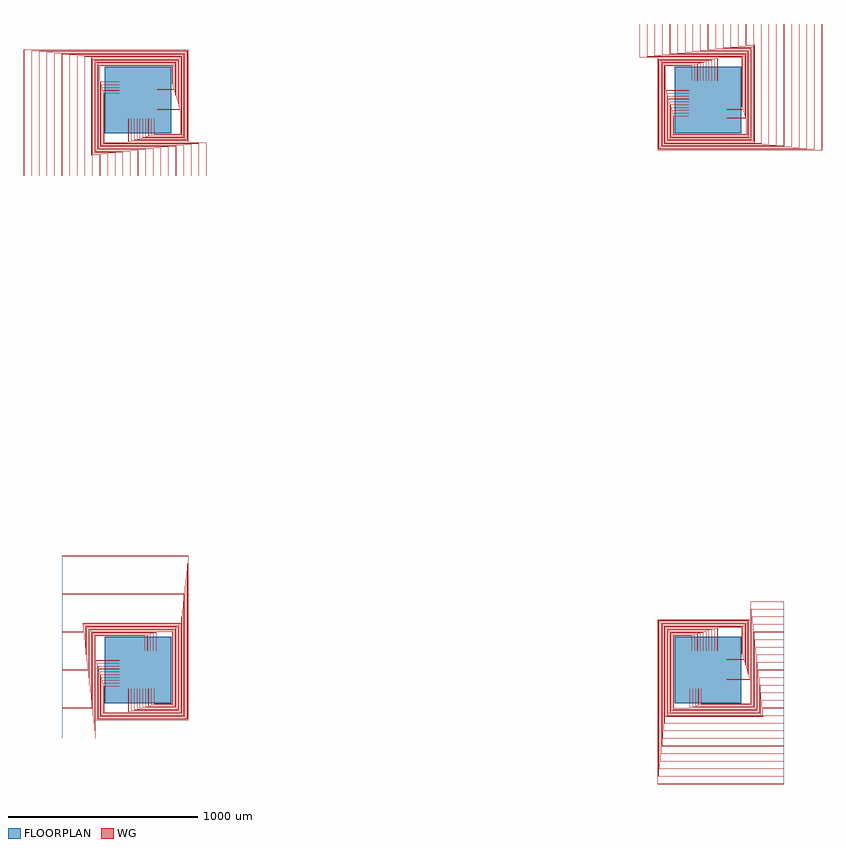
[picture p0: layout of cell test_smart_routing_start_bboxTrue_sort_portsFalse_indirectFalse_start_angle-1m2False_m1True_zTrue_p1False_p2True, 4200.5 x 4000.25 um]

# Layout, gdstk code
import gdstk
lib = gdstk.Library(unit=1e-6, precision=1e-09)
def R(c, l, rs):  # rectangles x0, y0, x1, y1
    for r in rs: c.add(gdstk.rectangle(r[:2], r[2:], *l))
def P(c, l, *ps):  # polygons
    for p in ps: c.add(gdstk.Polygon(p, *l))
WG = (1, 0)
FLOORPLAN = (10, 0)

test_smart_routing_start = lib.new_cell('test_smart_routing_start_bboxTrue_sort_portsFalse_indirectFalse_start_angle-1m2False_m1True_zTrue_p1False_p2True')
P(test_smart_routing_start, WG, [(-220,-265),(-220,50.25),(-100,50.25),(-100,49.75),(-219.5,49.75),(-219.5,-264.5),(264.5,-264.5),(264.5,599.75),(-400,599.75),(-400,600.25),(265,600.25),(265,-265)],
  [(-215.5,-260.5),(-215.5,35.25),(-100,35.25),(-100,34.75),(-215,34.75),(-215,-260),(260,-260),(260,559.75),(-400,559.75),(-400,560.25),(260.5,560.25),(260.5,-260.5)],
  [(-211,-256),(-211,20.25),(-100,20.25),(-100,19.75),(-210.5,19.75),(-210.5,-255.5),(255.5,-255.5),(255.5,519.75),(-400,519.75),(-400,520.25),(256,520.25),(256,-256)],
  [(-206.5,-251.5),(-206.5,5.25),(-100,5.25),(-100,4.75),(-206,4.75),(-206,-251),(251,-251),(251,479.75),(-400,479.75),(-400,480.25),(251.5,480.25),(251.5,-251.5)],
  [(-202,-247),(-202,-9.75),(-100,-9.75),(-100,-10.25),(-201.5,-10.25),(-201.5,-246.5),(246.5,-246.5),(246.5,439.75),(-400,439.75),(-400,440.25),(247,440.25),(247,-247)],
  [(-197.5,-242.5),(-197.5,-24.75),(-100,-24.75),(-100,-25.25),(-197,-25.25),(-197,-242),(242,-242),(242,399.75),(-400,399.75),(-400,400.25),(242.5,400.25),(242.5,-242.5)],
  [(-193,-238),(-193,-39.75),(-100,-39.75),(-100,-40.25),(-192.5,-40.25),(-192.5,-237.5),(237.5,-237.5),(237.5,359.75),(-400,359.75),(-400,360.25),(238,360.25),(238,-238)],
  [(-188.5,-233.5),(-188.5,-54.75),(-100,-54.75),(-100,-55.25),(-188,-55.25),(-188,-233),(233,-233),(233,319.75),(-400,319.75),(-400,320.25),(233.5,320.25),(233.5,-233.5)],
  [(-184,-229),(-184,-69.75),(-100,-69.75),(-100,-70.25),(-183.5,-70.25),(-183.5,-228.5),(228.5,-228.5),(228.5,279.75),(-400,279.75),(-400,280.25),(229,280.25),(229,-229)],
  [(-179.5,-224.5),(-179.5,-84.75),(-100,-84.75),(-100,-85.25),(-179,-85.25),(-179,-224),(224,-224),(224,246.5),(-291.5,246.5),(-291.5,239.75),(-400,239.75),(-400,240.25),(-292,240.25),(-292,247),(224.5,247),(224.5,-224.5)],
  [(-50.25,-220),(-50.25,-100),(-49.75,-100),(-49.75,-219.5),(219.5,-219.5),(219.5,242),(-287,242),(-287,199.75),(-400,199.75),(-400,200.25),(-287.5,200.25),(-287.5,242.5),(220,242.5),(220,-220)],
  [(-35.25,-215.5),(-35.25,-100),(-34.75,-100),(-34.75,-215),(215,-215),(215,237.5),(-282.5,237.5),(-282.5,159.75),(-400,159.75),(-400,160.25),(-283,160.25),(-283,238),(215.5,238),(215.5,-215.5)],
  [(-20.25,-211),(-20.25,-100),(-19.75,-100),(-19.75,-210.5),(210.5,-210.5),(210.5,233),(-278,233),(-278,119.75),(-400,119.75),(-400,120.25),(-278.5,120.25),(-278.5,233.5),(211,233.5),(211,-211)],
  [(-5.25,-206.5),(-5.25,-100),(-4.75,-100),(-4.75,-206),(206,-206),(206,228.5),(-273.5,228.5),(-273.5,79.75),(-400,79.75),(-400,80.25),(-274,80.25),(-274,229),(206.5,229),(206.5,-206.5)],
  [(9.75,-202),(9.75,-100),(10.25,-100),(10.25,-201.5),(201.5,-201.5),(201.5,224),(-269,224),(-269,39.75),(-400,39.75),(-400,40.25),(-269.5,40.25),(-269.5,224.5),(202,224.5),(202,-202)],
  [(24.75,-197.5),(24.75,-100),(25.25,-100),(25.25,-197),(197,-197),(197,219.5),(-264.5,219.5),(-264.5,-0.25),(-400,-0.25),(-400,0.25),(-265,0.25),(-265,220),(197.5,220),(197.5,-197.5)],
  [(39.75,-193),(39.75,-100),(40.25,-100),(40.25,-192.5),(192.5,-192.5),(192.5,215),(-260,215),(-260,-40.25),(-400,-40.25),(-400,-39.75),(-260.5,-39.75),(-260.5,215.5),(193,215.5),(193,-193)],
  [(54.75,-188.5),(54.75,-100),(55.25,-100),(55.25,-188),(188,-188),(188,210.5),(-255.5,210.5),(-255.5,-80.25),(-400,-80.25),(-400,-79.75),(-256,-79.75),(-256,211),(188.5,211),(188.5,-188.5)],
  [(69.75,-184),(69.75,-100),(70.25,-100),(70.25,-183.5),(183.5,-183.5),(183.5,206),(-251,206),(-251,-120.25),(-400,-120.25),(-400,-119.75),(-251.5,-119.75),(-251.5,206.5),(184,206.5),(184,-184)],
  [(84.75,-179.5),(84.75,-100),(85.25,-100),(85.25,-179),(179,-179),(179,201.5),(-246.5,201.5),(-246.5,-160.25),(-400,-160.25),(-400,-159.75),(-247,-159.75),(-247,202),(179.5,202),(179.5,-179.5)],
  [(-400,-360.25),(-400,-359.75),(-224.5,-359.75),(-224.5,179.5),(35.25,179.5),(35.25,100),(34.75,100),(34.75,179),(-224,179),(-224,-360.25)],
  [(-400,-320.25),(-400,-319.75),(-229,-319.75),(-229,184),(50.25,184),(50.25,100),(49.75,100),(49.75,183.5),(-228.5,183.5),(-228.5,-320.25)],
  [(-400,-280.25),(-400,-279.75),(-233.5,-279.75),(-233.5,188.5),(65.25,188.5),(65.25,100),(64.75,100),(64.75,188),(-233,188),(-233,-280.25)],
  [(-400,-240.25),(-400,-239.75),(-238,-239.75),(-238,193),(80.25,193),(80.25,100),(79.75,100),(79.75,192.5),(-237.5,192.5),(-237.5,-240.25)],
  [(-400,-200.25),(-400,-199.75),(-242.5,-199.75),(-242.5,197.5),(95.25,197.5),(95.25,100),(94.75,100),(94.75,197),(-242,197),(-242,-200.25)],
  [(-600.25,2600),(-600.25,3265),(265,3265),(265,2780),(-50.25,2780),(-50.25,2900),(-49.75,2900),(-49.75,2780.5),(264.5,2780.5),(264.5,3264.5),(-599.75,3264.5),(-599.75,2600)],
  [(-560.25,2600),(-560.25,3260.5),(260.5,3260.5),(260.5,2784.5),(-35.25,2784.5),(-35.25,2900),(-34.75,2900),(-34.75,2785),(260,2785),(260,3260),(-559.75,3260),(-559.75,2600)],
  [(-520.25,2600),(-520.25,3256),(256,3256),(256,2789),(-20.25,2789),(-20.25,2900),(-19.75,2900),(-19.75,2789.5),(255.5,2789.5),(255.5,3255.5),(-519.75,3255.5),(-519.75,2600)],
  [(-480.25,2600),(-480.25,3251.5),(251.5,3251.5),(251.5,2793.5),(-5.25,2793.5),(-5.25,2900),(-4.75,2900),(-4.75,2794),(251,2794),(251,3251),(-479.75,3251),(-479.75,2600)],
  [(-440.25,2600),(-440.25,3247),(247,3247),(247,2798),(9.75,2798),(9.75,2900),(10.25,2900),(10.25,2798.5),(246.5,2798.5),(246.5,3246.5),(-439.75,3246.5),(-439.75,2600)],
  [(-400.25,2600),(-400.25,3242.5),(242.5,3242.5),(242.5,2802.5),(24.75,2802.5),(24.75,2900),(25.25,2900),(25.25,2803),(242,2803),(242,3242),(-399.75,3242),(-399.75,2600)],
  [(-360.25,2600),(-360.25,3238),(238,3238),(238,2807),(39.75,2807),(39.75,2900),(40.25,2900),(40.25,2807.5),(237.5,2807.5),(237.5,3237.5),(-359.75,3237.5),(-359.75,2600)],
  [(-320.25,2600),(-320.25,3233.5),(233.5,3233.5),(233.5,2811.5),(54.75,2811.5),(54.75,2900),(55.25,2900),(55.25,2812),(233,2812),(233,3233),(-319.75,3233),(-319.75,2600)],
  [(-280.25,2600),(-280.25,3229),(229,3229),(229,2816),(69.75,2816),(69.75,2900),(70.25,2900),(70.25,2816.5),(228.5,2816.5),(228.5,3228.5),(-279.75,3228.5),(-279.75,2600)],
  [(-240.25,2600),(-240.25,2708),(-247,2708),(-247,3224.5),(224.5,3224.5),(224.5,2820.5),(84.75,2820.5),(84.75,2900),(85.25,2900),(85.25,2821),(224,2821),(224,3224),(-246.5,3224),(-246.5,2708.5),(-239.75,2708.5),(-239.75,2600)],
  [(-200.25,2600),(-200.25,2712.5),(-242.5,2712.5),(-242.5,3220),(220,3220),(220,2949.75),(100,2949.75),(100,2950.25),(219.5,2950.25),(219.5,3219.5),(-242,3219.5),(-242,2713),(-199.75,2713),(-199.75,2600)],
  [(-160.25,2600),(-160.25,2717),(-238,2717),(-238,3215.5),(215.5,3215.5),(215.5,2964.75),(100,2964.75),(100,2965.25),(215,2965.25),(215,3215),(-237.5,3215),(-237.5,2717.5),(-159.75,2717.5),(-159.75,2600)],
  [(-120.25,2600),(-120.25,2721.5),(-233.5,2721.5),(-233.5,3211),(211,3211),(211,2979.75),(100,2979.75),(100,2980.25),(210.5,2980.25),(210.5,3210.5),(-233,3210.5),(-233,2722),(-119.75,2722),(-119.75,2600)],
  [(-80.25,2600),(-80.25,2726),(-229,2726),(-229,3206.5),(206.5,3206.5),(206.5,2994.75),(100,2994.75),(100,2995.25),(206,2995.25),(206,3206),(-228.5,3206),(-228.5,2726.5),(-79.75,2726.5),(-79.75,2600)],
  [(-40.25,2600),(-40.25,2730.5),(-224.5,2730.5),(-224.5,3202),(202,3202),(202,3009.75),(100,3009.75),(100,3010.25),(201.5,3010.25),(201.5,3201.5),(-224,3201.5),(-224,2731),(-39.75,2731),(-39.75,2600)],
  [(-0.25,2600),(-0.25,2735),(-220,2735),(-220,3197.5),(197.5,3197.5),(197.5,3024.75),(100,3024.75),(100,3025.25),(197,3025.25),(197,3197),(-219.5,3197),(-219.5,2735.5),(0.25,2735.5),(0.25,2600)],
  [(39.75,2600),(39.75,2739.5),(-215.5,2739.5),(-215.5,3193),(193,3193),(193,3039.75),(100,3039.75),(100,3040.25),(192.5,3040.25),(192.5,3192.5),(-215,3192.5),(-215,2740),(40.25,2740),(40.25,2600)],
  [(79.75,2600),(79.75,2744),(-211,2744),(-211,3188.5),(188.5,3188.5),(188.5,3054.75),(100,3054.75),(100,3055.25),(188,3055.25),(188,3188),(-210.5,3188),(-210.5,2744.5),(80.25,2744.5),(80.25,2600)],
  [(119.75,2600),(119.75,2748.5),(-206.5,2748.5),(-206.5,3184),(184,3184),(184,3069.75),(100,3069.75),(100,3070.25),(183.5,3070.25),(183.5,3183.5),(-206,3183.5),(-206,2749),(120.25,2749),(120.25,2600)],
  [(159.75,2600),(159.75,2753),(-202,2753),(-202,3179.5),(179.5,3179.5),(179.5,3084.75),(100,3084.75),(100,3085.25),(179,3085.25),(179,3179),(-201.5,3179),(-201.5,2753.5),(160.25,2753.5),(160.25,2600)],
  [(359.75,2600),(359.75,2775.5),(-179.5,2775.5),(-179.5,3035.25),(-100,3035.25),(-100,3034.75),(-179,3034.75),(-179,2776),(360.25,2776),(360.25,2600)],
  [(319.75,2600),(319.75,2771),(-184,2771),(-184,3050.25),(-100,3050.25),(-100,3049.75),(-183.5,3049.75),(-183.5,2771.5),(320.25,2771.5),(320.25,2600)],
  [(279.75,2600),(279.75,2766.5),(-188.5,2766.5),(-188.5,3065.25),(-100,3065.25),(-100,3064.75),(-188,3064.75),(-188,2767),(280.25,2767),(280.25,2600)],
  [(239.75,2600),(239.75,2762),(-193,2762),(-193,3080.25),(-100,3080.25),(-100,3079.75),(-192.5,3079.75),(-192.5,2762.5),(240.25,2762.5),(240.25,2600)],
  [(199.75,2600),(199.75,2757.5),(-197.5,2757.5),(-197.5,3095.25),(-100,3095.25),(-100,3094.75),(-197,3094.75),(-197,2758),(200.25,2758),(200.25,2600)],
  [(2735,-600.25),(2735,265),(3220,265),(3220,-50.25),(3100,-50.25),(3100,-49.75),(3219.5,-49.75),(3219.5,264.5),(2735.5,264.5),(2735.5,-599.75),(3400,-599.75),(3400,-600.25)],
  [(2739.5,-560.25),(2739.5,260.5),(3215.5,260.5),(3215.5,-35.25),(3100,-35.25),(3100,-34.75),(3215,-34.75),(3215,260),(2740,260),(2740,-559.75),(3400,-559.75),(3400,-560.25)],
  [(2744,-520.25),(2744,256),(3211,256),(3211,-20.25),(3100,-20.25),(3100,-19.75),(3210.5,-19.75),(3210.5,255.5),(2744.5,255.5),(2744.5,-519.75),(3400,-519.75),(3400,-520.25)],
  [(2748.5,-480.25),(2748.5,251.5),(3206.5,251.5),(3206.5,-5.25),(3100,-5.25),(3100,-4.75),(3206,-4.75),(3206,251),(2749,251),(2749,-479.75),(3400,-479.75),(3400,-480.25)],
  [(2753,-440.25),(2753,247),(3202,247),(3202,9.75),(3100,9.75),(3100,10.25),(3201.5,10.25),(3201.5,246.5),(2753.5,246.5),(2753.5,-439.75),(3400,-439.75),(3400,-440.25)],
  [(2757.5,-400.25),(2757.5,242.5),(3197.5,242.5),(3197.5,24.75),(3100,24.75),(3100,25.25),(3197,25.25),(3197,242),(2758,242),(2758,-399.75),(3400,-399.75),(3400,-400.25)],
  [(2762,-360.25),(2762,238),(3193,238),(3193,39.75),(3100,39.75),(3100,40.25),(3192.5,40.25),(3192.5,237.5),(2762.5,237.5),(2762.5,-359.75),(3400,-359.75),(3400,-360.25)],
  [(2766.5,-320.25),(2766.5,233.5),(3188.5,233.5),(3188.5,54.75),(3100,54.75),(3100,55.25),(3188,55.25),(3188,233),(2767,233),(2767,-319.75),(3400,-319.75),(3400,-320.25)],
  [(2771,-280.25),(2771,229),(3184,229),(3184,69.75),(3100,69.75),(3100,70.25),(3183.5,70.25),(3183.5,228.5),(2771.5,228.5),(2771.5,-279.75),(3400,-279.75),(3400,-280.25)],
  [(2775.5,-247),(2775.5,224.5),(3179.5,224.5),(3179.5,84.75),(3100,84.75),(3100,85.25),(3179,85.25),(3179,224),(2776,224),(2776,-246.5),(3291.5,-246.5),(3291.5,-239.75),(3400,-239.75),(3400,-240.25),(3292,-240.25),(3292,-247)],
  [(2780,-242.5),(2780,220),(3050.25,220),(3050.25,100),(3049.75,100),(3049.75,219.5),(2780.5,219.5),(2780.5,-242),(3287,-242),(3287,-199.75),(3400,-199.75),(3400,-200.25),(3287.5,-200.25),(3287.5,-242.5)],
  [(2784.5,-238),(2784.5,215.5),(3035.25,215.5),(3035.25,100),(3034.75,100),(3034.75,215),(2785,215),(2785,-237.5),(3282.5,-237.5),(3282.5,-159.75),(3400,-159.75),(3400,-160.25),(3283,-160.25),(3283,-238)],
  [(2789,-233.5),(2789,211),(3020.25,211),(3020.25,100),(3019.75,100),(3019.75,210.5),(2789.5,210.5),(2789.5,-233),(3278,-233),(3278,-119.75),(3400,-119.75),(3400,-120.25),(3278.5,-120.25),(3278.5,-233.5)],
  [(2793.5,-229),(2793.5,206.5),(3005.25,206.5),(3005.25,100),(3004.75,100),(3004.75,206),(2794,206),(2794,-228.5),(3273.5,-228.5),(3273.5,-79.75),(3400,-79.75),(3400,-80.25),(3274,-80.25),(3274,-229)],
  [(2798,-224.5),(2798,202),(2990.25,202),(2990.25,100),(2989.75,100),(2989.75,201.5),(2798.5,201.5),(2798.5,-224),(3269,-224),(3269,-39.75),(3400,-39.75),(3400,-40.25),(3269.5,-40.25),(3269.5,-224.5)],
  [(2802.5,-220),(2802.5,197.5),(2975.25,197.5),(2975.25,100),(2974.75,100),(2974.75,197),(2803,197),(2803,-219.5),(3264.5,-219.5),(3264.5,0.25),(3400,0.25),(3400,-0.25),(3265,-0.25),(3265,-220)],
  [(2807,-215.5),(2807,193),(2960.25,193),(2960.25,100),(2959.75,100),(2959.75,192.5),(2807.5,192.5),(2807.5,-215),(3260,-215),(3260,40.25),(3400,40.25),(3400,39.75),(3260.5,39.75),(3260.5,-215.5)],
  [(2811.5,-211),(2811.5,188.5),(2945.25,188.5),(2945.25,100),(2944.75,100),(2944.75,188),(2812,188),(2812,-210.5),(3255.5,-210.5),(3255.5,80.25),(3400,80.25),(3400,79.75),(3256,79.75),(3256,-211)],
  [(2816,-206.5),(2816,184),(2930.25,184),(2930.25,100),(2929.75,100),(2929.75,183.5),(2816.5,183.5),(2816.5,-206),(3251,-206),(3251,120.25),(3400,120.25),(3400,119.75),(3251.5,119.75),(3251.5,-206.5)],
  [(2820.5,-202),(2820.5,179.5),(2915.25,179.5),(2915.25,100),(2914.75,100),(2914.75,179),(2821,179),(2821,-201.5),(3246.5,-201.5),(3246.5,160.25),(3400,160.25),(3400,159.75),(3247,159.75),(3247,-202)],
  [(2964.75,-179.5),(2964.75,-100),(2965.25,-100),(2965.25,-179),(3224,-179),(3224,360.25),(3400,360.25),(3400,359.75),(3224.5,359.75),(3224.5,-179.5)],
  [(2949.75,-184),(2949.75,-100),(2950.25,-100),(2950.25,-183.5),(3228.5,-183.5),(3228.5,320.25),(3400,320.25),(3400,319.75),(3229,319.75),(3229,-184)],
  [(2934.75,-188.5),(2934.75,-100),(2935.25,-100),(2935.25,-188),(3233,-188),(3233,280.25),(3400,280.25),(3400,279.75),(3233.5,279.75),(3233.5,-188.5)],
  [(2919.75,-193),(2919.75,-100),(2920.25,-100),(2920.25,-192.5),(3237.5,-192.5),(3237.5,240.25),(3400,240.25),(3400,239.75),(3238,239.75),(3238,-193)],
  [(2904.75,-197.5),(2904.75,-100),(2905.25,-100),(2905.25,-197),(3242,-197),(3242,200.25),(3400,200.25),(3400,199.75),(3242.5,199.75),(3242.5,-197.5)],
  [(2735,2735),(2735,3220),(3050.25,3220),(3050.25,3100),(3049.75,3100),(3049.75,3219.5),(2735.5,3219.5),(2735.5,2735.5),(3599.75,2735.5),(3599.75,3400),(3600.25,3400),(3600.25,2735)],
  [(2739.5,2739.5),(2739.5,3215.5),(3035.25,3215.5),(3035.25,3100),(3034.75,3100),(3034.75,3215),(2740,3215),(2740,2740),(3559.75,2740),(3559.75,3400),(3560.25,3400),(3560.25,2739.5)],
  [(2744,2744),(2744,3211),(3020.25,3211),(3020.25,3100),(3019.75,3100),(3019.75,3210.5),(2744.5,3210.5),(2744.5,2744.5),(3519.75,2744.5),(3519.75,3400),(3520.25,3400),(3520.25,2744)],
  [(2748.5,2748.5),(2748.5,3206.5),(3005.25,3206.5),(3005.25,3100),(3004.75,3100),(3004.75,3206),(2749,3206),(2749,2749),(3479.75,2749),(3479.75,3400),(3480.25,3400),(3480.25,2748.5)],
  [(2753,2753),(2753,3202),(2990.25,3202),(2990.25,3100),(2989.75,3100),(2989.75,3201.5),(2753.5,3201.5),(2753.5,2753.5),(3439.75,2753.5),(3439.75,3400),(3440.25,3400),(3440.25,2753)],
  [(2757.5,2757.5),(2757.5,3197.5),(2975.25,3197.5),(2975.25,3100),(2974.75,3100),(2974.75,3197),(2758,3197),(2758,2758),(3399.75,2758),(3399.75,3400),(3400.25,3400),(3400.25,2757.5)],
  [(2762,2762),(2762,3193),(2960.25,3193),(2960.25,3100),(2959.75,3100),(2959.75,3192.5),(2762.5,3192.5),(2762.5,2762.5),(3359.75,2762.5),(3359.75,3400),(3360.25,3400),(3360.25,2762)],
  [(2766.5,2766.5),(2766.5,3188.5),(2945.25,3188.5),(2945.25,3100),(2944.75,3100),(2944.75,3188),(2767,3188),(2767,2767),(3319.75,2767),(3319.75,3400),(3320.25,3400),(3320.25,2766.5)],
  [(2771,2771),(2771,3184),(2930.25,3184),(2930.25,3100),(2929.75,3100),(2929.75,3183.5),(2771.5,3183.5),(2771.5,2771.5),(3279.75,2771.5),(3279.75,3400),(3280.25,3400),(3280.25,2771)],
  [(2775.5,2775.5),(2775.5,3179.5),(2915.25,3179.5),(2915.25,3100),(2914.75,3100),(2914.75,3179),(2776,3179),(2776,2776),(3246.5,2776),(3246.5,3291.5),(3239.75,3291.5),(3239.75,3400),(3240.25,3400),(3240.25,3292),(3247,3292),(3247,2775.5)],
  [(2780,2780),(2780,3050.25),(2900,3050.25),(2900,3049.75),(2780.5,3049.75),(2780.5,2780.5),(3242,2780.5),(3242,3287),(3199.75,3287),(3199.75,3400),(3200.25,3400),(3200.25,3287.5),(3242.5,3287.5),(3242.5,2780)],
  [(2784.5,2784.5),(2784.5,3035.25),(2900,3035.25),(2900,3034.75),(2785,3034.75),(2785,2785),(3237.5,2785),(3237.5,3282.5),(3159.75,3282.5),(3159.75,3400),(3160.25,3400),(3160.25,3283),(3238,3283),(3238,2784.5)],
  [(2789,2789),(2789,3020.25),(2900,3020.25),(2900,3019.75),(2789.5,3019.75),(2789.5,2789.5),(3233,2789.5),(3233,3278),(3119.75,3278),(3119.75,3400),(3120.25,3400),(3120.25,3278.5),(3233.5,3278.5),(3233.5,2789)],
  [(2793.5,2793.5),(2793.5,3005.25),(2900,3005.25),(2900,3004.75),(2794,3004.75),(2794,2794),(3228.5,2794),(3228.5,3273.5),(3079.75,3273.5),(3079.75,3400),(3080.25,3400),(3080.25,3274),(3229,3274),(3229,2793.5)],
  [(2798,2798),(2798,2990.25),(2900,2990.25),(2900,2989.75),(2798.5,2989.75),(2798.5,2798.5),(3224,2798.5),(3224,3269),(3039.75,3269),(3039.75,3400),(3040.25,3400),(3040.25,3269.5),(3224.5,3269.5),(3224.5,2798)],
  [(2802.5,2802.5),(2802.5,2975.25),(2900,2975.25),(2900,2974.75),(2803,2974.75),(2803,2803),(3219.5,2803),(3219.5,3264.5),(2999.75,3264.5),(2999.75,3400),(3000.25,3400),(3000.25,3265),(3220,3265),(3220,2802.5)],
  [(2807,2807),(2807,2960.25),(2900,2960.25),(2900,2959.75),(2807.5,2959.75),(2807.5,2807.5),(3215,2807.5),(3215,3260),(2959.75,3260),(2959.75,3400),(2960.25,3400),(2960.25,3260.5),(3215.5,3260.5),(3215.5,2807)],
  [(2811.5,2811.5),(2811.5,2945.25),(2900,2945.25),(2900,2944.75),(2812,2944.75),(2812,2812),(3210.5,2812),(3210.5,3255.5),(2919.75,3255.5),(2919.75,3400),(2920.25,3400),(2920.25,3256),(3211,3256),(3211,2811.5)],
  [(2816,2816),(2816,2930.25),(2900,2930.25),(2900,2929.75),(2816.5,2929.75),(2816.5,2816.5),(3206,2816.5),(3206,3251),(2879.75,3251),(2879.75,3400),(2880.25,3400),(2880.25,3251.5),(3206.5,3251.5),(3206.5,2816)],
  [(2820.5,2820.5),(2820.5,2915.25),(2900,2915.25),(2900,2914.75),(2821,2914.75),(2821,2821),(3201.5,2821),(3201.5,3246.5),(2839.75,3246.5),(2839.75,3400),(2840.25,3400),(2840.25,3247),(3202,3247),(3202,2820.5)],
  [(3100,2964.75),(3100,2965.25),(3179,2965.25),(3179,3224),(2639.75,3224),(2639.75,3400),(2640.25,3400),(2640.25,3224.5),(3179.5,3224.5),(3179.5,2964.75)],
  [(3100,2949.75),(3100,2950.25),(3183.5,2950.25),(3183.5,3228.5),(2679.75,3228.5),(2679.75,3400),(2680.25,3400),(2680.25,3229),(3184,3229),(3184,2949.75)],
  [(3100,2934.75),(3100,2935.25),(3188,2935.25),(3188,3233),(2719.75,3233),(2719.75,3400),(2720.25,3400),(2720.25,3233.5),(3188.5,3233.5),(3188.5,2934.75)],
  [(3100,2919.75),(3100,2920.25),(3192.5,2920.25),(3192.5,3237.5),(2759.75,3237.5),(2759.75,3400),(2760.25,3400),(2760.25,3238),(3193,3238),(3193,2919.75)],
  [(3100,2904.75),(3100,2905.25),(3197,2905.25),(3197,3242),(2799.75,3242),(2799.75,3400),(2800.25,3400),(2800.25,3242.5),(3197.5,3242.5),(3197.5,2904.75)])
R(test_smart_routing_start, FLOORPLAN, [(-175,-175,175,175), (2825,-175,3175,175), (-175,2825,175,3175), (2825,2825,3175,3175)])
P(test_smart_routing_start, FLOORPLAN, [(-400,-360),(-400,600),(-400,600),(-400,-360)],
  [(-600,2600),(-600,2600),(360,2600),(360,2600)],
  [(3400,-600),(3400,360),(3400,360),(3400,-600)],
  [(2640,3400),(2640,3400),(3600,3400),(3600,3400)])

lib.write_gds('test_smart_routing_start_bboxTrue_sort_portsFalse_indirectFalse_start_angle-1m2False_m1True_zTrue_p1False_p2True.gds')
